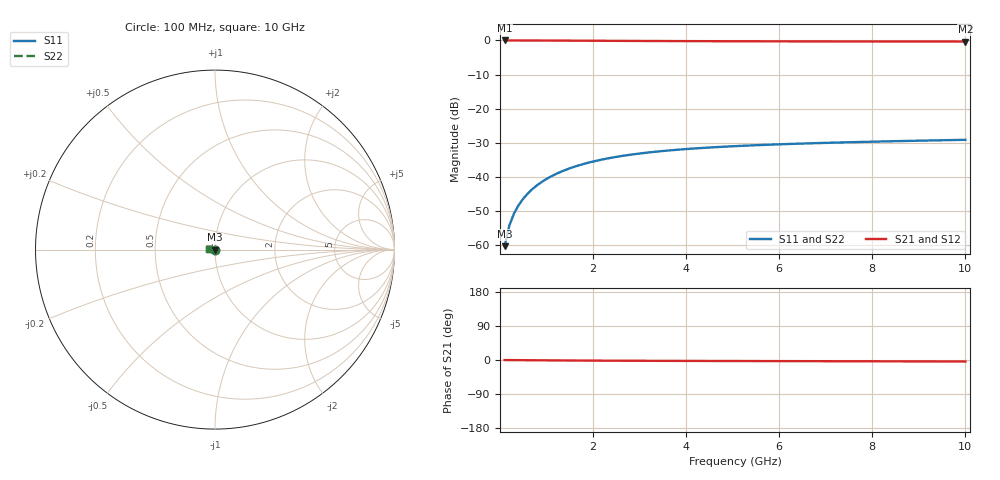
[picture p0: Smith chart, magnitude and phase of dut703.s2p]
! Touchstone file exported from HFSS 2024.1.0
!  File:  C:/UserFiles/LocalFiles/RDL_TSV_Batchsim/temp_TSV1_703_1779866411.aedt
!  Generated:  03:25:57 PM May 27, 2026
!  Design:  TSV1
!  Project:  temp_TSV1_703_1779866411
!  Setup:  Setup1
!  Solution:  Sweep
! Variables:
!  dtsv = 11.12um
!  hbump = 3um
!  htsv = 57.97um
!  lrdl = 252.1521522um
!  p = 40
!  p1 = 53.24um
!  t = 500um
!  trdl = 3um
!  wrdl = 24.89489489um
# GHz S MA R 50.000000
! Terminal data exported
! Port[1] = TSV22_T1
! Port[2] = TSV22_T2
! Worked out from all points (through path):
!   100 points, 100 MHz to 10 GHz, reference 50 ohm
!   highest |S21| = 0.00 dB at 100 MHz (marker M1); lowest = -0.3 dB at 10 GHz (marker M2)
!   lowest |S11| = -60.2 dB at 100 MHz (marker M3), VSWR 1.00, Z = 50 - j0.097 ohm
!   |S11| at or under -10 dB: start of sweep to end of sweep
!   |S22| runs from -60.2 to -29.1 dB; largest |S21 - S12| = 3.3e-15
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0.1  0.000972 -86.2  0.9999 -0.1  0.9999 -0.1  0.000972 -86.2
! Gamma 0 0 0 0
! Port Impedance 50 0 50 0
0.2  0.001938 -90.8  0.9998 -0.2  0.9998 -0.2  0.001938 -90.8
0.3  0.002904 -93.6  0.9996 -0.3  0.9996 -0.3  0.002904 -93.6
0.4  0.003866 -96.0  0.9993 -0.4  0.9993 -0.4  0.003866 -96.0
0.5  0.00482 -98.2  0.999 -0.5  0.999 -0.5  0.00482 -98.2
0.6  0.005762 -100.3  0.9987 -0.6  0.9987 -0.6  0.005762 -100.3
0.7  0.00669 -102.3  0.9983 -0.7  0.9983 -0.7  0.00669 -102.3
0.8  0.007601 -104.3  0.9978 -0.8  0.9978 -0.8  0.007601 -104.3
0.9  0.008495 -106.3  0.9973 -0.8  0.9973 -0.8  0.008495 -106.3
1.1  0.01022 -110.0  0.9962 -1.0  0.9962 -1.0  0.01022 -110.0
1.4  0.01265 -115.3  0.9943 -1.2  0.9943 -1.2  0.01265 -115.3
1.6  0.01415 -118.7  0.9929 -1.4  0.9929 -1.4  0.01415 -118.7
1.8  0.01555 -121.9  0.9915 -1.5  0.9915 -1.5  0.01555 -121.9
2.1  0.01747 -126.4  0.9893 -1.7  0.9893 -1.7  0.01747 -126.5
2.5  0.01973 -132.0  0.9865 -1.9  0.9865 -1.9  0.01973 -132.0
2.9  0.02166 -137.1  0.9838 -2.0  0.9838 -2.0  0.02166 -137.1
3.4  0.02369 -142.8  0.9808 -2.2  0.9808 -2.2  0.02369 -142.8
4.2  0.02625 -150.6  0.9767 -2.5  0.9767 -2.5  0.02625 -150.6
5.1  0.02843 -158.0  0.9731 -2.7  0.9731 -2.7  0.02843 -158.0
6.7  0.03122 -168.6  0.9686 -3.1  0.9686 -3.1  0.03122 -168.6
8.4  0.03339 -177.6  0.9655 -3.5  0.9655 -3.5  0.03339 -177.6
10  0.03509 175.4  0.9635 -3.9  0.9635 -3.9  0.03509 175.3
